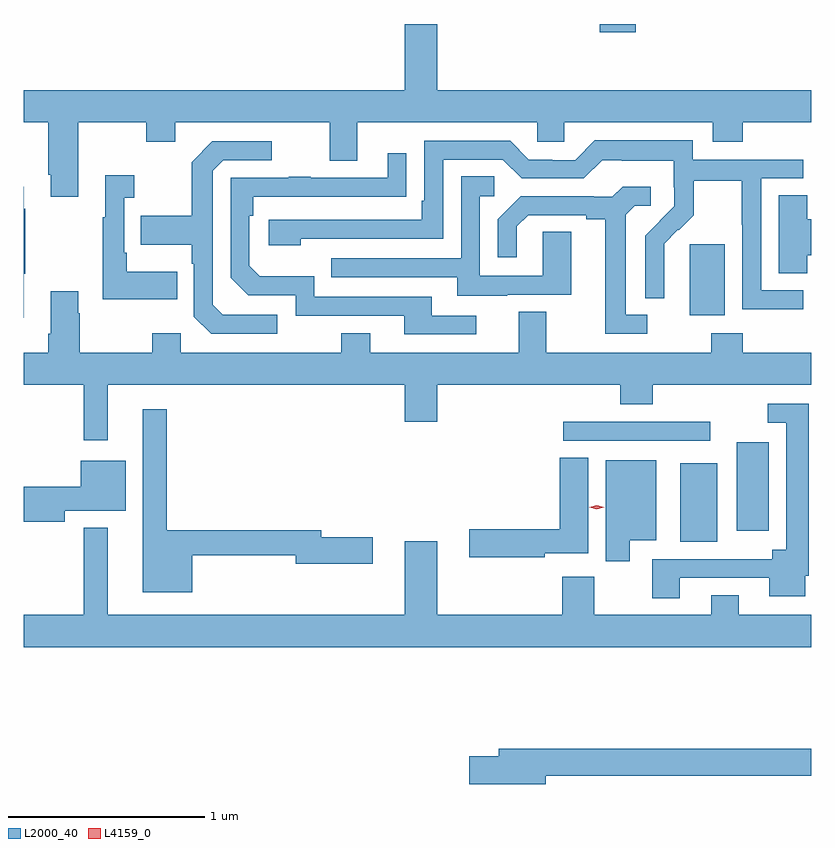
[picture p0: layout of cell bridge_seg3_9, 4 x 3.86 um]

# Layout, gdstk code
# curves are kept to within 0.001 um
import gdstk
lib = gdstk.Library(unit=1e-6, precision=1e-09)
def R(c, l, rs):  # rectangles x0, y0, x1, y1
    for r in rs: c.add(gdstk.rectangle(r[:2], r[2:], *l))
def P(c, l, *ps):  # polygons
    for p in ps: c.add(gdstk.Polygon(p, *l))
L2000_40 = (2000, 40)
L4159_0 = (4159, 0)

bridge_seg3_9 = lib.new_cell('bridge_seg3_9')
R(bridge_seg3_9, L2000_40, [(693.878,736.085,694.066,736.483), (694.166,736.14,694.327,736.588), (693.285,736.596,694.03,736.692), (693.926,737.234,694.105,737.595), (693.47,738.669,693.653,738.712)])
P(bridge_seg3_9, L2000_40, [(690.823,738.212),(691.168,738.212),(691.168,738.113),(691.315,738.113),(691.315,738.212),(692.099,738.212),(692.099,738.018),(692.239,738.018),(692.239,738.212),(693.153,738.212),(693.153,738.114),(693.291,738.114),(693.291,738.212),(694.043,738.212),(694.043,738.113),(694.196,738.113),(694.196,738.212),(694.545,738.212),(694.545,738.376),(692.644,738.376),(692.644,738.712),(692.48,738.712),(692.48,738.376),(690.545,738.376),(690.545,738.212),(690.671,738.212),(690.671,737.947),(690.683,737.947),(690.683,737.835),(690.823,737.835)],
  [(694.504,737.361),(694.29,737.361),(694.29,737.928),(694.504,737.928),(694.504,738.024),(693.942,738.024),(693.942,738.121),(693.445,738.121),(693.345,738.021),(693.23,738.021),(693.23,738.024),(693.111,738.024),(693.015,738.12),(692.58,738.12),(692.58,737.815),(692.567,737.815),(692.567,737.718),(691.791,737.718),(691.791,737.588),(691.952,737.588),(691.952,737.622),(692.676,737.622),(692.676,738.024),(692.979,738.024),(693.075,737.928),(693.39,737.928),(693.483,738.021),(693.583,738.021),(693.583,738.017),(693.846,738.017),(693.846,737.883),(693.848,737.883),(693.848,737.786),(693.702,737.638),(693.702,737.32),(693.798,737.32),(693.797,737.597),(693.867,737.667),(693.87,737.664),(693.947,737.741),(693.947,737.916),(694.192,737.916),(694.192,737.692),(694.194,737.692),(694.194,737.263),(694.504,737.263)],
  [(691.834,737.235),(691.557,737.235),(691.506,737.286),(691.506,737.967),(691.56,738.021),(691.804,738.021),(691.804,738.117),(691.503,738.117),(691.398,738.011),(691.398,737.739),(691.141,737.739),(691.141,737.591),(691.398,737.591),(691.398,737.495),(691.41,737.495),(691.41,737.226),(691.497,737.139),(691.834,737.139)],
  [(692.842,737.232),(692.617,737.232),(692.617,737.328),(692.022,737.328),(692.022,737.431),(691.745,737.431),(691.692,737.484),(691.692,737.738),(691.712,737.738),(691.712,737.835),(692.489,737.836),(692.489,738.055),(692.393,738.055),(692.393,737.931),(692.003,737.931),(692.003,737.936),(691.891,737.936),(691.891,737.931),(691.596,737.931),(691.596,737.424),(691.686,737.334),(691.926,737.334),(691.926,737.232),(692.477,737.232),(692.477,737.136),(692.842,737.136)],
  [(691.325,737.455),(691.069,737.455),(691.069,737.551),(691.056,737.551),(691.056,737.831),(691.108,737.831),(691.108,737.944),(690.959,737.944),(690.959,737.731),(690.948,737.731),(690.948,737.315),(691.325,737.315)],
  [(693.001,737.337),(693.325,737.337),(693.325,737.657),(693.18,737.657),(693.18,737.433),(692.862,737.433),(692.862,737.838),(692.935,737.838),(692.935,737.939),(692.766,737.939),(692.766,737.523),(692.107,737.523),(692.107,737.427),(692.747,737.427),(692.747,737.333),(693.001,737.333)],
  [(690.547,737.443),(690.555,737.443),(690.555,737.774),(690.547,737.774),(690.547,737.887),(690.545,737.887),(690.545,737.22),(690.547,737.22)],
  [(693.712,737.235),(693.601,737.235),(693.601,737.743),(693.648,737.79),(693.73,737.79),(693.73,737.887),(693.586,737.887),(693.534,737.835),(693.44,737.835),(693.44,737.838),(693.068,737.838),(692.952,737.722),(692.952,737.529),(693.049,737.529),(693.049,737.685),(693.106,737.742),(693.401,737.742),(693.401,737.72),(693.497,737.72),(693.497,737.139),(693.712,737.139)],
  [(694.523,737.537),(694.545,737.537),(694.545,737.72),(694.523,737.72),(694.523,737.843),(694.379,737.843),(694.379,737.446),(694.523,737.446)],
  [(690.973,736.88),(692.48,736.88),(692.48,736.692),(692.644,736.692),(692.644,736.88),(693.575,736.88),(693.575,736.781),(693.74,736.781),(693.74,736.88),(694.545,736.88),(694.545,737.044),(694.196,737.044),(694.196,737.143),(694.036,737.143),(694.036,737.044),(693.199,737.044),(693.199,737.252),(693.059,737.252),(693.059,737.044),(692.305,737.044),(692.305,737.143),(692.158,737.143),(692.158,737.044),(691.344,737.044),(691.344,737.143),(691.198,737.143),(691.198,737.044),(690.831,737.044),(690.831,737.243),(690.823,737.243),(690.823,737.356),(690.683,737.356),(690.683,737.14),(690.671,737.14),(690.671,737.044),(690.545,737.044),(690.545,736.88),(690.852,736.88),(690.852,736.599),(690.973,736.599)],
  [(693.877,735.9),(694.331,735.9),(694.331,735.806),(694.513,735.806),(694.513,735.91),(694.532,735.91),(694.532,736.785),(694.323,736.785),(694.323,736.689),(694.416,736.689),(694.416,736.042),(694.346,736.042),(694.346,735.996),(693.737,735.996),(693.737,735.798),(693.877,735.798)],
  [(691.402,736.014),(691.928,736.014),(691.928,735.971),(692.317,735.971),(692.317,736.106),(692.056,736.106),(692.056,736.142),(691.273,736.142),(691.273,736.756),(691.151,736.756),(691.151,735.827),(691.402,735.827)],
  [(693.192,736.025),(693.412,736.025),(693.412,736.511),(693.266,736.511),(693.266,736.148),(692.808,736.148),(692.808,736.006),(693.192,736.006)],
  [(693.622,736.091),(693.757,736.091),(693.757,736.498),(693.5,736.498),(693.5,735.984),(693.622,735.984)],
  [(690.754,736.241),(691.063,736.241),(691.063,736.495),(690.836,736.495),(690.836,736.363),(690.545,736.363),(690.545,736.186),(690.754,736.186)],
  [(692.48,736.087),(692.48,735.712),(690.973,735.712),(690.973,736.156),(690.852,736.156),(690.852,735.712),(690.545,735.712),(690.545,735.548),(694.545,735.548),(694.545,735.712),(694.177,735.712),(694.177,735.811),(694.037,735.811),(694.037,735.712),(693.441,735.712),(693.441,735.907),(693.281,735.907),(693.281,735.712),(692.644,735.712),(692.644,736.087)],
  [(693.196,734.896),(694.545,734.896),(694.545,735.032),(692.957,735.032),(692.957,734.996),(692.808,734.996),(692.808,734.854),(693.196,734.854)])
P(bridge_seg3_9, L4159_0, [(693.455,736.248),(693.417,736.258),(693.417,736.258),(693.417,736.258),(693.455,736.268),(693.493,736.259),(693.493,736.258),(693.493,736.258)])

lib.write_gds('bridge_seg3_9.gds')
